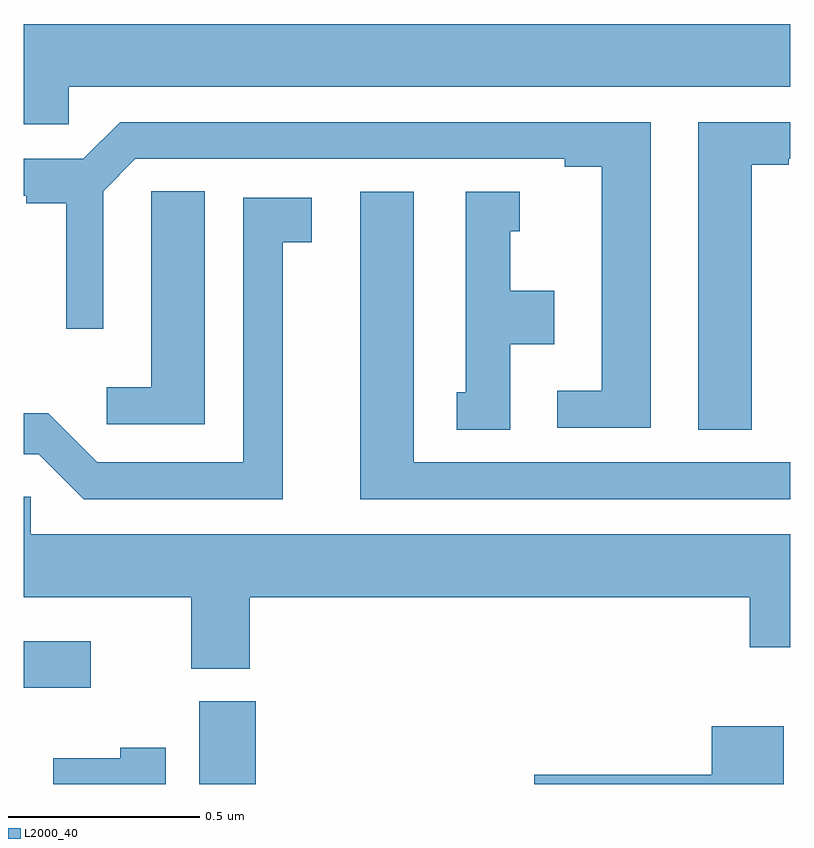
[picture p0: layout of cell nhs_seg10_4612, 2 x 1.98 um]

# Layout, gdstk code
import gdstk
lib = gdstk.Library(unit=1e-6, precision=1e-09)
def R(c, l, rs):  # rectangles x0, y0, x1, y1
    for r in rs: c.add(gdstk.rectangle(r[:2], r[2:], *l))
def P(c, l, *ps):  # polygons
    for p in ps: c.add(gdstk.Polygon(p, *l))
L2000_40 = (2000, 40)

nhs_seg10_4612 = lib.new_cell('nhs_seg10_4612')
R(nhs_seg10_4612, L2000_40, [(168.458,1294.5,168.605,1294.716), (168,1294.751,168.175,1294.873)])
P(nhs_seg10_4612, L2000_40, [(168.117,1296.32),(170,1296.32),(170,1296.484),(168,1296.484),(168,1296.222),(168.117,1296.222)],
  [(169.9,1296.117),(169.996,1296.117),(169.996,1296.132),(170,1296.132),(170,1296.228),(169.76,1296.228),(169.76,1295.425),(169.9,1295.425)],
  [(169.636,1296.228),(168.251,1296.228),(168.155,1296.132),(168,1296.132),(168,1296.035),(168.006,1296.035),(168.006,1296.016),(168.11,1296.016),(168.11,1295.688),(168.207,1295.688),(168.207,1296.048),(168.291,1296.132),(169.412,1296.132),(169.412,1296.112),(169.508,1296.112),(169.508,1295.526),(169.392,1295.526),(169.392,1295.43),(169.636,1295.43)],
  [(168.472,1296.047),(168.333,1296.047),(168.333,1295.939),(168.332,1295.939),(168.332,1295.536),(168.216,1295.536),(168.216,1295.439),(168.472,1295.439)],
  [(169.27,1295.648),(169.384,1295.648),(169.384,1295.788),(169.27,1295.788),(169.27,1295.943),(169.294,1295.943),(169.294,1296.046),(169.154,1296.046),(169.154,1295.523),(169.13,1295.523),(169.13,1295.425),(169.27,1295.425)],
  [(170,1295.34),(169.018,1295.34),(169.018,1296.046),(168.878,1296.046),(168.878,1295.244),(170,1295.244)],
  [(168.676,1295.914),(168.751,1295.914),(168.751,1296.03),(168.572,1296.03),(168.572,1295.34),(168.192,1295.34),(168.064,1295.468),(168,1295.468),(168,1295.361),(168.039,1295.361),(168.156,1295.244),(168.676,1295.244)],
  [(168.59,1294.988),(169.895,1294.988),(169.895,1294.857),(170,1294.857),(170,1295.152),(168.018,1295.152),(168.018,1295.25),(168,1295.25),(168,1294.988),(168.437,1294.988),(168.437,1294.801),(168.59,1294.801)],
  [(169.984,1294.651),(169.796,1294.651),(169.796,1294.524),(169.332,1294.524),(169.332,1294.5),(169.984,1294.5)],
  [(168.37,1294.594),(168.252,1294.594),(168.252,1294.567),(168.077,1294.567),(168.077,1294.5),(168.37,1294.5)])

lib.write_gds('nhs_seg10_4612.gds')
